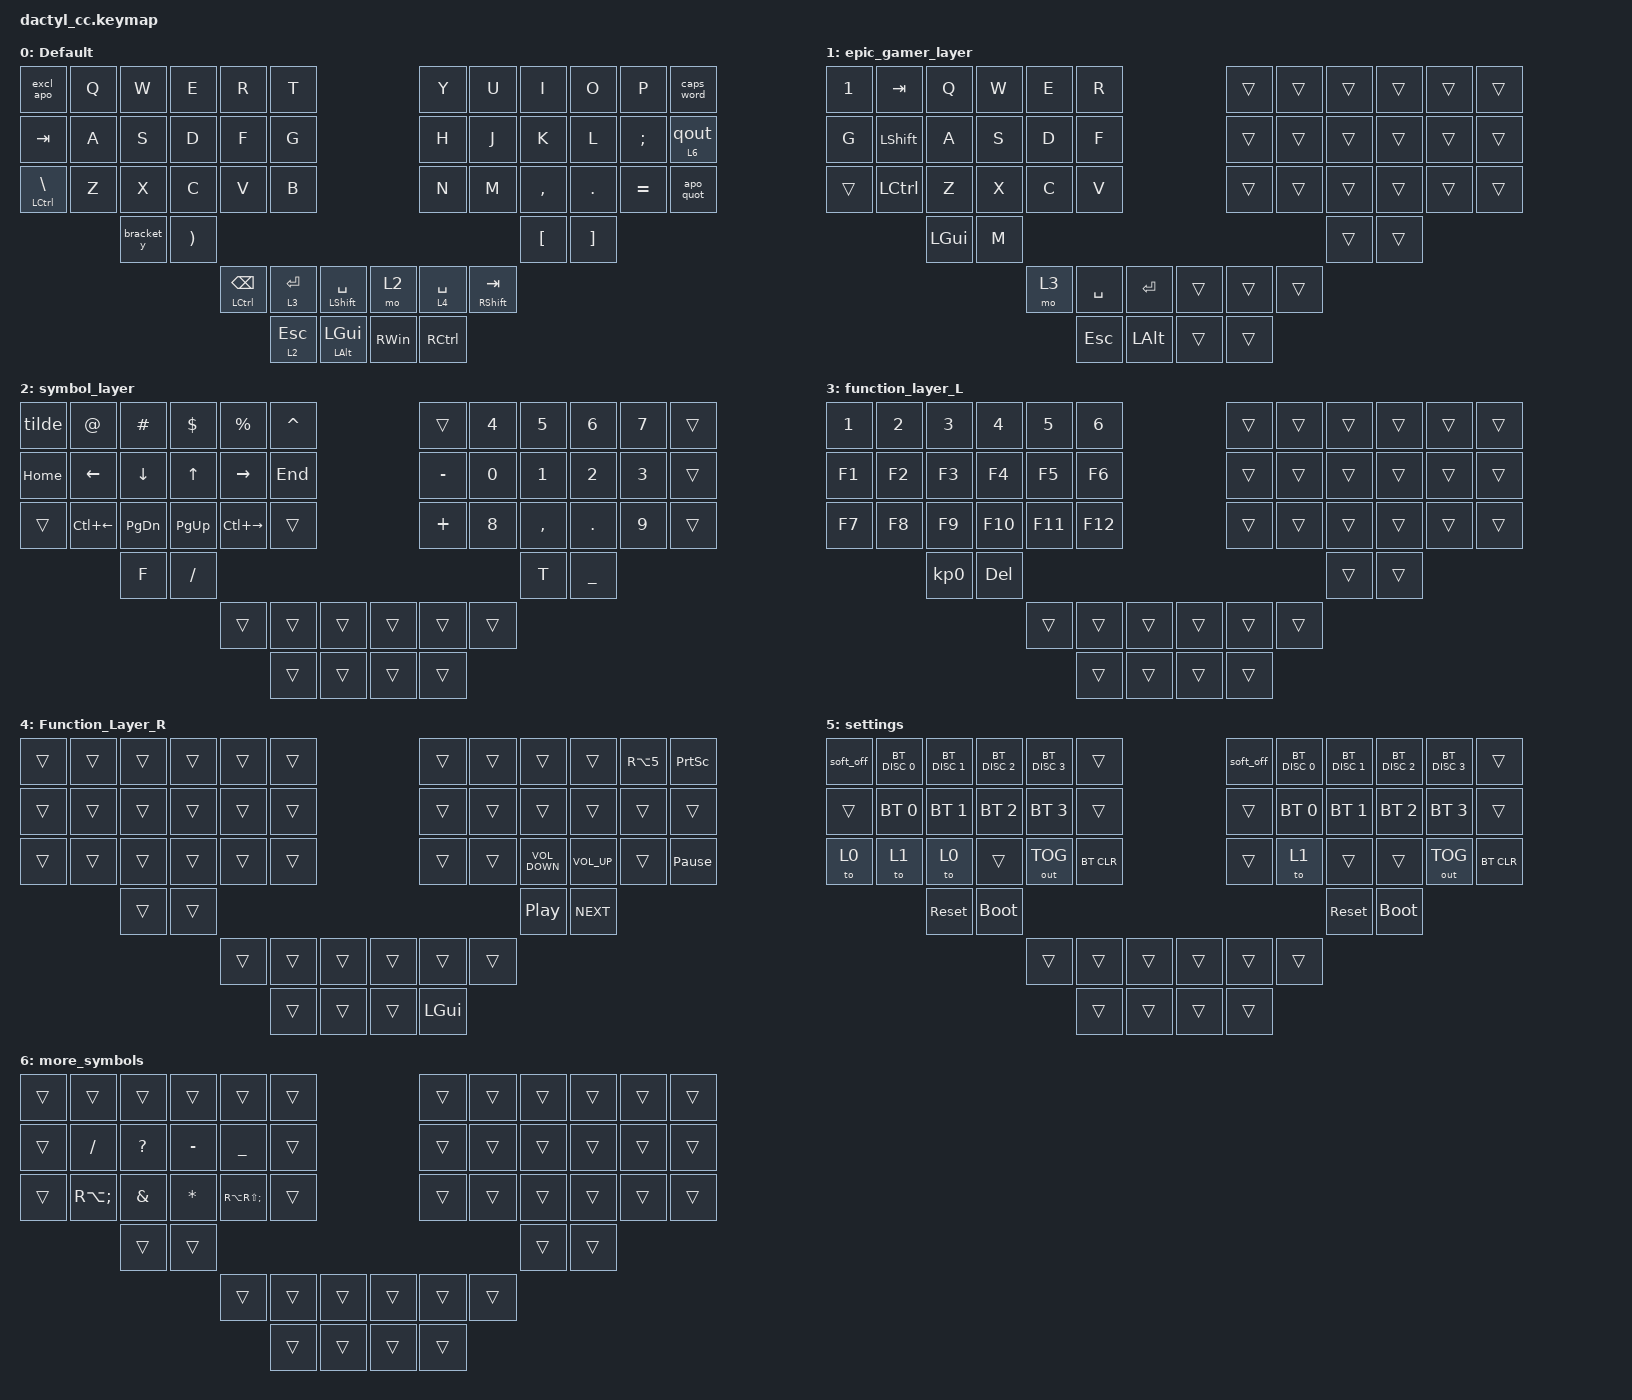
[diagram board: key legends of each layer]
#include <dt-bindings/zmk/mouse.h>
#include <behaviors.dtsi>
#include <dt-bindings/zmk/bt.h>
#include <dt-bindings/zmk/keys.h>
#include <dt-bindings/zmk/outputs.h>

// Modifiers

&kscan0 {
    debounce-press-ms = <30>;
    debounce-release-ms = <30>;
};

&lt { flavor = "hold-preferred"; };

/ {
    behaviors {
        excl_apo: excl_apo {
            compatible = "zmk,behavior-mod-morph";
            label = "EXCL_APO";
            bindings = <&kp EXCLAMATION>, <&apo>;

            #binding-cells = <0>;
            mods = <(MOD_LSFT|MOD_RSFT)>;
        };

        apo_quot: apo_quot {
            compatible = "zmk,behavior-mod-morph";
            label = "APO_QUOT";
            bindings = <&apo>, <&backtick>;

            #binding-cells = <0>;
            mods = <(MOD_LSFT|MOD_RSFT)>;
        };

        hwu: hwu {
            compatible = "zmk,behavior-hold-tap";
            label = "HWU";
            bindings = <&kp>, <&kp>;

            #binding-cells = <2>;
            hold-while-undecided;
            tapping-term-ms = <200>;
        };

        bracket_y: bracket_y {
            compatible = "zmk,behavior-mod-morph";
            label = "BRACKET_Y";
            bindings = <&kp LEFT_PARENTHESIS>, <&kp Y>;

            #binding-cells = <0>;
            mods = <(MOD_LSFT)>;
        };

        tap_unless: tap_unless {
            compatible = "zmk,behavior-hold-tap";
            label = "TAP_UNLESS";
            bindings = <&kp>, <&kp>;

            #binding-cells = <2>;
            flavor = "tap-unless-interrupted";
            tapping-term-ms = <200>;
            quick-tap-ms = <200>;
        };

        quot_or_layer: quot_or_layer {
            compatible = "zmk,behavior-hold-tap";
            label = "QUOT_OR_LAYER";
            bindings = <&mo>, <&qout>;

            #binding-cells = <2>;
            tapping-term-ms = <200>;
        };
    };

    macros {
        /**
              * Temporarily switches to a layer (`&mo`) while a modifier is held.
              * Analogous to QMK's `LM()`, using a parameterized macro.
              *
              * Params:
              *  1. Layer to switch to
              *  2. Modifier to press while layer is active
              *
              * Example:
              *  `&lm NUM_LAYER LSHIFT`
              */

        infinity: infinity {
            compatible = "zmk,behavior-macro";
            #binding-cells = <0>;
            bindings =
                <&macro_press>,
                <&kp LEFT_ALT>,
                <&macro_tap>,
                <&kp KP_NUMBER_2 &kp KP_NUMBER_3 &kp KP_NUMBER_6>,
                <&macro_release>,
                <&kp LEFT_ALT>;

            label = "INFINITY";
        };

        sqrt: sqrt {
            compatible = "zmk,behavior-macro";
            #binding-cells = <0>;
            bindings =
                <&macro_press>,
                <&kp LEFT_ALT>,
                <&macro_tap>,
                <&kp KP_NUMBER_2 &kp KP_NUMBER_5 &kp KP_NUMBER_1>,
                <&macro_release>,
                <&kp LEFT_ALT>;

            label = "SQRT";
        };

        apo: apo {
            compatible = "zmk,behavior-macro";
            #binding-cells = <0>;
            bindings = <&kp APOS &kp SPACE>;
            label = "APO";
        };

        qout: qout {
            compatible = "zmk,behavior-macro";
            #binding-cells = <0>;
            bindings = <&kp LS(APOS) &kp SPACE>;
            label = "QOUT";
        };

        modl: modl {
            compatible = "zmk,behavior-macro-two-param";
            #binding-cells = <2>;
            bindings =
                <&macro_press>,
                <&macro_param_1to1 &mo MACRO_PLACEHOLDER &macro_param_2to1 &kp MACRO_PLACEHOLDER>,
                <&macro_pause_for_release>,
                <&macro_release>,
                <&macro_param_1to1 &mo MACRO_PLACEHOLDER &macro_param_2to1 &kp MACRO_PLACEHOLDER>;

            label = "MODL";
        };

        tilde: tilde {
            compatible = "zmk,behavior-macro";
            #binding-cells = <0>;
            bindings = <&kp TILDE &kp SPACE>;
            label = "TILDE";
        };

        backtick: backtick {
            compatible = "zmk,behavior-macro";
            #binding-cells = <0>;
            bindings = <&kp GRAVE &kp SPACE>;
            label = "BACKTICK";
        };
    };

    combos {
        compatible = "zmk,combos";

        ae {
            bindings = <&kp RA(Q)>;
            key-positions = <13 11>;
            timeout-ms = <35>;
            layers = <0>;
        };

        oe {
            bindings = <&kp RA(P)>;
            key-positions = <9 11>;
            timeout-ms = <35>;
            layers = <0>;
        };

        ue {
            bindings = <&kp RA(Y)>;
            key-positions = <7 11>;
            timeout-ms = <35>;
            layers = <0>;
        };

        sz {
            bindings = <&kp RA(S)>;
            key-positions = <14 11>;
            timeout-ms = <35>;
            layers = <0>;
        };

        magic_r {
            bindings = <&sl 5>;
            key-positions = <48 49>;
            timeout-ms = <35>;
        };
    };

    keymap {
        compatible = "zmk,keymap";

        default_layer {
            display-name = "Default";
            bindings = <
&excl_apo             &kp Q  &kp W       &kp E                  &kp R                        &kp T                                           &kp Y        &kp U                 &kp I             &kp O              &kp P          &caps_word
&kp TAB               &kp A  &kp S       &kp D                  &kp F                        &kp G                                           &kp H        &kp J                 &kp K             &kp L              &kp SEMICOLON  &quot_or_layer 6 0
&hwu LCTRL BACKSLASH  &kp Z  &kp X       &kp C                  &kp V                        &kp B                                           &kp N        &kp M                 &kp COMMA         &kp DOT            &kp EQUAL      &apo_quot
                             &bracket_y  &kp RIGHT_PARENTHESIS                                                                                                                  &kp LEFT_BRACKET  &kp RIGHT_BRACKET
                                                                &tap_unless LCTRL BACKSPACE  &lt 3 ENTER   &hwu LSHFT SPACE        &mo 2     &lt 4 SPACE  &hwu RIGHT_SHIFT TAB
                                                                                             &lt 2 ESCAPE  &hwu LEFT_ALT LEFT_GUI  &kp RWIN  &kp RCTRL
            >;
        };

        epic_gamer_layer {
            bindings = <
&kp N1  &kp TAB           &kp Q     &kp W  &kp E  &kp R                             &trans  &trans  &trans  &trans  &trans  &trans
&kp G   &kp LEFT_SHIFT    &kp A     &kp S  &kp D  &kp F                             &trans  &trans  &trans  &trans  &trans  &trans
&trans  &kp LEFT_CONTROL  &kp Z     &kp X  &kp C  &kp V                             &trans  &trans  &trans  &trans  &trans  &trans
                          &kp LGUI  &kp M                                                           &trans  &trans
                                           &mo 3  &kp SPACE   &kp ENTER     &trans  &trans  &trans
                                                  &kp ESCAPE  &kp LEFT_ALT  &trans  &trans
            >;
        };

        symbol_layer {
            bindings = <
&tilde    &kp AT_SIGN   &kp HASH   &kp DOLLAR  &kp PERCENT    &kp CARET                  &trans     &kp NUMBER_4  &kp NUMBER_5  &kp NUMBER_6  &kp NUMBER_7  &trans
&kp HOME  &kp LEFT      &kp DOWN   &kp UP      &kp RIGHT      &kp END                    &kp MINUS  &kp NUMBER_0  &kp NUMBER_1  &kp NUMBER_2  &kp NUMBER_3  &trans
&trans    &kp LC(LEFT)  &kp PG_DN  &kp PG_UP   &kp LC(RIGHT)  &trans                     &kp PLUS   &kp N8        &kp COMMA     &kp PERIOD    &kp NUMBER_9  &trans
                        &kp F      &kp SLASH                                                                      &kp T         &kp UNDER
                                               &trans         &trans     &trans  &trans  &trans     &trans
                                                              &trans     &trans  &trans  &trans
            >;
        };

        function_layer_L {
            bindings = <
&kp N1  &kp N2  &kp N3           &kp N4      &kp N5   &kp NUMBER_6                  &trans  &trans  &trans  &trans  &trans  &trans
&kp F1  &kp F2  &kp F3           &kp F4      &kp F5   &kp F6                        &trans  &trans  &trans  &trans  &trans  &trans
&kp F7  &kp F8  &kp F9           &kp F10     &kp F11  &kp F12                       &trans  &trans  &trans  &trans  &trans  &trans
                &kp KP_NUMBER_0  &kp DELETE                                                         &trans  &trans
                                             &trans   &trans        &trans  &trans  &trans  &trans
                                                      &trans        &trans  &trans  &trans
            >;
        };

        Function_Layer_R {
            bindings = <
&trans  &trans  &trans  &trans  &trans  &trans                  &trans        &trans  &trans             &trans           &kp RA(N5)  &kp PSCRN
&trans  &trans  &trans  &trans  &trans  &trans                  &trans        &trans  &trans             &trans           &trans      &trans
&trans  &trans  &trans  &trans  &trans  &trans                  &trans        &trans  &kp C_VOLUME_DOWN  &kp C_VOLUME_UP  &trans      &kp PAUSE_BREAK
                &trans  &trans                                                        &kp C_PLAY_PAUSE   &kp C_NEXT
                                &trans  &trans  &trans  &trans  &trans        &trans
                                        &trans  &trans  &trans  &kp LEFT_GUI
            >;
        };

        settings {
            bindings = <
&soft_off  &bt BT_DISC 0  &bt BT_DISC 1  &bt BT_DISC 2  &bt BT_DISC 3  &trans                      &soft_off  &bt BT_DISC 0  &bt BT_DISC 1  &bt BT_DISC 2  &bt BT_DISC 3  &trans
&trans     &bt BT_SEL 0   &bt BT_SEL 1   &bt BT_SEL 2   &bt BT_SEL 3   &trans                      &trans     &bt BT_SEL 0   &bt BT_SEL 1   &bt BT_SEL 2   &bt BT_SEL 3   &trans
&to 0      &to 1          &to 0          &trans         &out OUT_TOG   &bt BT_CLR                  &trans     &to 1          &trans         &trans         &out OUT_TOG   &bt BT_CLR
                          &sys_reset     &bootloader                                                                         &sys_reset     &bootloader
                                                        &trans         &trans      &trans  &trans  &trans     &trans
                                                                       &trans      &trans  &trans  &trans
            >;
        };

        more_symbols {
            bindings = <
&trans  &trans             &trans         &trans        &trans                 &trans                  &trans  &trans  &trans  &trans  &trans  &trans
&trans  &kp FSLH           &kp QUESTION   &kp MINUS     &kp UNDER              &trans                  &trans  &trans  &trans  &trans  &trans  &trans
&trans  &kp RA(SEMICOLON)  &kp AMPERSAND  &kp ASTERISK  &kp RA(RS(SEMICOLON))  &trans                  &trans  &trans  &trans  &trans  &trans  &trans
                           &trans         &trans                                                                       &trans  &trans
                                                        &trans                 &trans  &trans  &trans  &trans  &trans
                                                                               &trans  &trans  &trans  &trans
            >;
        };
    };
};
